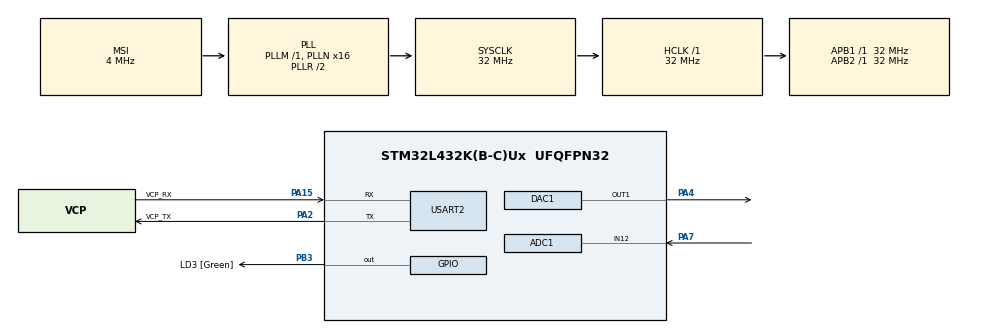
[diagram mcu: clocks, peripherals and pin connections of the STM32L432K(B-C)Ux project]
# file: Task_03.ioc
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ADC1.Channel-0\#ChannelRegularConversion=ADC_CHANNEL_12
ADC1.ContinuousConvMode=ENABLE
ADC1.NbrOfConversionFlag=1
ADC1.OffsetNumber-0\#ChannelRegularConversion=ADC_OFFSET_NONE
ADC1.Overrun=ADC_OVR_DATA_OVERWRITTEN
ADC1.Rank-0\#ChannelRegularConversion=1
ADC1.SamplingTime-0\#ChannelRegularConversion=ADC_SAMPLETIME_2CYCLES_5
ADC1.master=1
Mcu.Family=STM32L4
Mcu.Name=STM32L432K(B-C)Ux
Mcu.Package=UFQFPN32
NVIC.ADC1_IRQn=true\:0\:0\:false\:false\:true\:true\:true
NVIC.PriorityGroup=NVIC_PRIORITYGROUP_4
NVIC.TIM1_UP_TIM16_IRQn=true\:0\:0\:false\:false\:true\:true\:true
PA0.GPIO_Label=MCO [High speed clock in]
PA0.Mode=HSE-External-Clock-Source-for-LittleOrca
PA0.Signal=RCC_CK_IN
PA13\ (JTMS-SWDIO).GPIO_Label=SWDIO
PA13\ (JTMS-SWDIO).Mode=Serial_Wire
PA13\ (JTMS-SWDIO).Signal=SYS_JTMS-SWDIO
PA14\ (JTCK-SWCLK).GPIO_Label=SWCLK
PA14\ (JTCK-SWCLK).Mode=Serial_Wire
PA14\ (JTCK-SWCLK).Signal=SYS_JTCK-SWCLK
PA15\ (JTDI).GPIO_Label=VCP_RX
PA15\ (JTDI).Mode=Asynchronous
PA15\ (JTDI).Signal=USART2_RX
PA2.GPIO_Label=VCP_TX
PA2.Mode=Asynchronous
PA2.Signal=USART2_TX
PA4.Signal=COMP_DAC11_group
PA7.Signal=ADCx_IN12
PB3\ (JTDO-TRACESWO).GPIO_Label=LD3 [Green]
PB3\ (JTDO-TRACESWO).Signal=GPIO_Output
PC14-OSC32_IN\ (PC14).Mode=LSE-External-Oscillator
PC14-OSC32_IN\ (PC14).Signal=RCC_OSC32_IN
PC15-OSC32_OUT\ (PC15).Mode=LSE-External-Oscillator
PC15-OSC32_OUT\ (PC15).Signal=RCC_OSC32_OUT
ProjectManager.HeapSize=0x200
ProjectManager.StackSize=0x400
ProjectManager.TargetToolchain=STM32CubeIDE
RCC.ADCFreq_Value=32000000
RCC.AHBFreq_Value=32000000
RCC.APB1Freq_Value=32000000
RCC.APB1TimFreq_Value=32000000
RCC.APB2Freq_Value=32000000
RCC.APB2TimFreq_Value=32000000
RCC.CortexFreq_Value=32000000
RCC.HCLKFreq_Value=32000000
RCC.HSE_VALUE=8000000
RCC.HSI16_VALUE=16000000
RCC.HSI48_VALUE=48000000
RCC.HSI_VALUE=16000000
RCC.MSI_VALUE=4000000
RCC.PLLMUL=RCC_PLLMUL_4
RCC.PLLN=16
RCC.PLLSAI1N=16
RCC.SYSCLKFreq_VALUE=32000000
RCC.SYSCLKSource=RCC_SYSCLKSOURCE_PLLCLK
RCC.USBFreq_Value=32000000
RCC.VCOOutputFreq_Value=64000000
SH.ADCx_IN12.0=ADC1_IN12,IN12-Single-Ended
SH.COMP_DAC11_group.0=DAC1_OUT1,DAC_OUT1
TIM16.Period=10
TIM16.Prescaler=32000-1
USART2.VirtualMode-Asynchronous=VM_ASYNC
VP_TIM16_VS_ClockSourceINT.Mode=Enable_Timer
board=NUCLEO-L432KC

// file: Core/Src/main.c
/* USER CODE BEGIN Header */
/**
  ******************************************************************************
  * @file           : main.c
  * @brief          : Main program body
  ******************************************************************************
  * @attention
  *
  * <h2><center>&copy; Copyright (c) 2021 STMicroelectronics.
  * All rights reserved.</center></h2>
  *
  * This software component is licensed by ST under BSD 3-Clause license,
  * the "License"; You may not use this file except in compliance with the
  * License. You may obtain a copy of the License at:
  *                        opensource.org/licenses/BSD-3-Clause
  *
  ******************************************************************************
  */
/* USER CODE END Header */
#include "main.h"

/* USER CODE BEGIN PM */
// These values are given by the resolution of the ADC
// We have 12 Bit resolution => 4096 values
#define ADC_MIN 0
#define ADC_MAX 4095 // since we start with 0
// These values I have approximated by debugging - The number represents the brightness
// Around the value 700 the LED is off => 0% Brightness
// Around the value 1300 the LED is fully on => 100% Brightness
#define LED_0 700
#define LED_100 1300
/* USER CODE END PM */

ADC_HandleTypeDef hadc1;

DAC_HandleTypeDef hdac1;

TIM_HandleTypeDef htim16;

UART_HandleTypeDef huart2;

void SystemClock_Config(void);
static void MX_GPIO_Init(void);
static void MX_USART2_UART_Init(void);
static void MX_ADC1_Init(void);
static void MX_DAC1_Init(void);
static void MX_TIM16_Init(void);
/* USER CODE BEGIN PFP */
// This function maps an original range to a new range
// Mathematically that's two linear transformations: offset & scale
// Code for such functions is widely available, so I'm not claiming to be the inventor of this.
// Original Source: https://www.arduino.cc/reference/en/language/functions/math/map/
int map(int x, int in_min, int in_max, int out_min, int out_max);
/* USER CODE END PFP */

int main(void)
{

  /* MCU Configuration--------------------------------------------------------*/

  /* Reset of all peripherals, Initializes the Flash interface and the Systick. */
  HAL_Init();

  /* Configure the system clock */
  SystemClock_Config();

  /* Initialize all configured peripherals */
  MX_GPIO_Init();
  MX_USART2_UART_Init();
  MX_ADC1_Init();
  MX_DAC1_Init();
  MX_TIM16_Init();
  /* USER CODE BEGIN 2 */
  HAL_ADC_Start(&hadc1);
  HAL_TIM_Base_Start_IT(&htim16);
  /* USER CODE END 2 */

  /* Infinite loop */
  /* USER CODE BEGIN WHILE */
  while (1)
  {
	  // No need for main
    /* USER CODE END WHILE */

  }
}

void SystemClock_Config(void)
{
  RCC_OscInitTypeDef RCC_OscInitStruct = {0};
  RCC_ClkInitTypeDef RCC_ClkInitStruct = {0};

  /** Configure the main internal regulator output voltage
  */
  if (HAL_PWREx_ControlVoltageScaling(PWR_REGULATOR_VOLTAGE_SCALE1) != HAL_OK)
  {
    Error_Handler();
  }
  /** Configure LSE Drive Capability
  */
  HAL_PWR_EnableBkUpAccess();
  __HAL_RCC_LSEDRIVE_CONFIG(RCC_LSEDRIVE_LOW);
  /** Initializes the RCC Oscillators according to the specified parameters
  * in the RCC_OscInitTypeDef structure.
  */
  RCC_OscInitStruct.OscillatorType = RCC_OSCILLATORTYPE_LSE|RCC_OSCILLATORTYPE_MSI;
  RCC_OscInitStruct.LSEState = RCC_LSE_ON;
  RCC_OscInitStruct.MSIState = RCC_MSI_ON;
  RCC_OscInitStruct.MSICalibrationValue = 0;
  RCC_OscInitStruct.MSIClockRange = RCC_MSIRANGE_6;
  RCC_OscInitStruct.PLL.PLLState = RCC_PLL_ON;
  RCC_OscInitStruct.PLL.PLLSource = RCC_PLLSOURCE_MSI;
  RCC_OscInitStruct.PLL.PLLM = 1;
  RCC_OscInitStruct.PLL.PLLN = 16;
  RCC_OscInitStruct.PLL.PLLP = RCC_PLLP_DIV7;
  RCC_OscInitStruct.PLL.PLLQ = RCC_PLLQ_DIV2;
  RCC_OscInitStruct.PLL.PLLR = RCC_PLLR_DIV2;
  if (HAL_RCC_OscConfig(&RCC_OscInitStruct) != HAL_OK)
  {
    Error_Handler();
  }
  /** Initializes the CPU, AHB and APB buses clocks
  */
  RCC_ClkInitStruct.ClockType = RCC_CLOCKTYPE_HCLK|RCC_CLOCKTYPE_SYSCLK
                              |RCC_CLOCKTYPE_PCLK1|RCC_CLOCKTYPE_PCLK2;
  RCC_ClkInitStruct.SYSCLKSource = RCC_SYSCLKSOURCE_PLLCLK;
  RCC_ClkInitStruct.AHBCLKDivider = RCC_SYSCLK_DIV1;
  RCC_ClkInitStruct.APB1CLKDivider = RCC_HCLK_DIV1;
  RCC_ClkInitStruct.APB2CLKDivider = RCC_HCLK_DIV1;

  if (HAL_RCC_ClockConfig(&RCC_ClkInitStruct, FLASH_LATENCY_1) != HAL_OK)
  {
    Error_Handler();
  }
  /** Enable MSI Auto calibration
  */
  HAL_RCCEx_EnableMSIPLLMode();
}

static void MX_ADC1_Init(void)
{

  ADC_ChannelConfTypeDef sConfig = {0};

  /** Common config
  */
  hadc1.Instance = ADC1;
  hadc1.Init.ClockPrescaler = ADC_CLOCK_ASYNC_DIV1;
  hadc1.Init.Resolution = ADC_RESOLUTION_12B;
  hadc1.Init.DataAlign = ADC_DATAALIGN_RIGHT;
  hadc1.Init.ScanConvMode = ADC_SCAN_DISABLE;
  hadc1.Init.EOCSelection = ADC_EOC_SINGLE_CONV;
  hadc1.Init.LowPowerAutoWait = DISABLE;
  hadc1.Init.ContinuousConvMode = ENABLE;
  hadc1.Init.NbrOfConversion = 1;
  hadc1.Init.DiscontinuousConvMode = DISABLE;
  hadc1.Init.ExternalTrigConv = ADC_SOFTWARE_START;
  hadc1.Init.ExternalTrigConvEdge = ADC_EXTERNALTRIGCONVEDGE_NONE;
  hadc1.Init.DMAContinuousRequests = DISABLE;
  hadc1.Init.Overrun = ADC_OVR_DATA_OVERWRITTEN;
  hadc1.Init.OversamplingMode = DISABLE;
  if (HAL_ADC_Init(&hadc1) != HAL_OK)
  {
    Error_Handler();
  }
  /** Configure Regular Channel
  */
  sConfig.Channel = ADC_CHANNEL_12;
  sConfig.Rank = ADC_REGULAR_RANK_1;
  sConfig.SamplingTime = ADC_SAMPLETIME_2CYCLES_5;
  sConfig.SingleDiff = ADC_SINGLE_ENDED;
  sConfig.OffsetNumber = ADC_OFFSET_NONE;
  sConfig.Offset = 0;
  if (HAL_ADC_ConfigChannel(&hadc1, &sConfig) != HAL_OK)
  {
    Error_Handler();
  }

}

static void MX_DAC1_Init(void)
{

  DAC_ChannelConfTypeDef sConfig = {0};

  /** DAC Initialization
  */
  hdac1.Instance = DAC1;
  if (HAL_DAC_Init(&hdac1) != HAL_OK)
  {
    Error_Handler();
  }
  /** DAC channel OUT1 config
  */
  sConfig.DAC_SampleAndHold = DAC_SAMPLEANDHOLD_DISABLE;
  sConfig.DAC_Trigger = DAC_TRIGGER_NONE;
  sConfig.DAC_OutputBuffer = DAC_OUTPUTBUFFER_ENABLE;
  sConfig.DAC_ConnectOnChipPeripheral = DAC_CHIPCONNECT_DISABLE;
  sConfig.DAC_UserTrimming = DAC_TRIMMING_FACTORY;
  if (HAL_DAC_ConfigChannel(&hdac1, &sConfig, DAC_CHANNEL_1) != HAL_OK)
  {
    Error_Handler();
  }

}

static void MX_TIM16_Init(void)
{

  htim16.Instance = TIM16;
  htim16.Init.Prescaler = 32000-1;
  htim16.Init.CounterMode = TIM_COUNTERMODE_UP;
  htim16.Init.Period = 10;
  htim16.Init.ClockDivision = TIM_CLOCKDIVISION_DIV1;
  htim16.Init.RepetitionCounter = 0;
  htim16.Init.AutoReloadPreload = TIM_AUTORELOAD_PRELOAD_DISABLE;
  if (HAL_TIM_Base_Init(&htim16) != HAL_OK)
  {
    Error_Handler();
  }

}

static void MX_USART2_UART_Init(void)
{

  huart2.Instance = USART2;
  huart2.Init.BaudRate = 115200;
  huart2.Init.WordLength = UART_WORDLENGTH_8B;
  huart2.Init.StopBits = UART_STOPBITS_1;
  huart2.Init.Parity = UART_PARITY_NONE;
  huart2.Init.Mode = UART_MODE_TX_RX;
  huart2.Init.HwFlowCtl = UART_HWCONTROL_NONE;
  huart2.Init.OverSampling = UART_OVERSAMPLING_16;
  huart2.Init.OneBitSampling = UART_ONE_BIT_SAMPLE_DISABLE;
  huart2.AdvancedInit.AdvFeatureInit = UART_ADVFEATURE_NO_INIT;
  if (HAL_UART_Init(&huart2) != HAL_OK)
  {
    Error_Handler();
  }

}

static void MX_GPIO_Init(void)
{
  GPIO_InitTypeDef GPIO_InitStruct = {0};

  /* GPIO Ports Clock Enable */
  __HAL_RCC_GPIOC_CLK_ENABLE();
  __HAL_RCC_GPIOA_CLK_ENABLE();
  __HAL_RCC_GPIOB_CLK_ENABLE();

  /*Configure GPIO pin Output Level */
  HAL_GPIO_WritePin(LD3_GPIO_Port, LD3_Pin, GPIO_PIN_RESET);

  /*Configure GPIO pin : LD3_Pin */
  GPIO_InitStruct.Pin = LD3_Pin;
  GPIO_InitStruct.Mode = GPIO_MODE_OUTPUT_PP;
  GPIO_InitStruct.Pull = GPIO_NOPULL;
  GPIO_InitStruct.Speed = GPIO_SPEED_FREQ_LOW;
  HAL_GPIO_Init(LD3_GPIO_Port, &GPIO_InitStruct);

}

/* USER CODE BEGIN 4 */
int map(int x, int in_min, int in_max, int out_min, int out_max)
{
  return (x - in_min) * (out_max - out_min) / (in_max - in_min) + out_min;
}
void HAL_TIM_PeriodElapsedCallback(TIM_HandleTypeDef *htim) {
	if(htim == &htim16) {
		int value = HAL_ADC_GetValue(&hadc1); // get current value
		// I've commented out the next line for debugging and approximation of new range
		value = map(value, ADC_MIN, ADC_MAX, LED_0, LED_100);
		if(HAL_DAC_SetValue(&hdac1, DAC_CHANNEL_1, DAC_ALIGN_12B_R, value) == HAL_ERROR)
			Error_Handler();
		if(HAL_DAC_Start(&hdac1, DAC_CHANNEL_1) == HAL_ERROR)
			Error_Handler();
	}
}
/* USER CODE END 4 */

void Error_Handler(void)
{
  __disable_irq();
  while (1)
  {
  }
}

/************************ (C) COPYRIGHT STMicroelectronics *****END OF FILE****/
